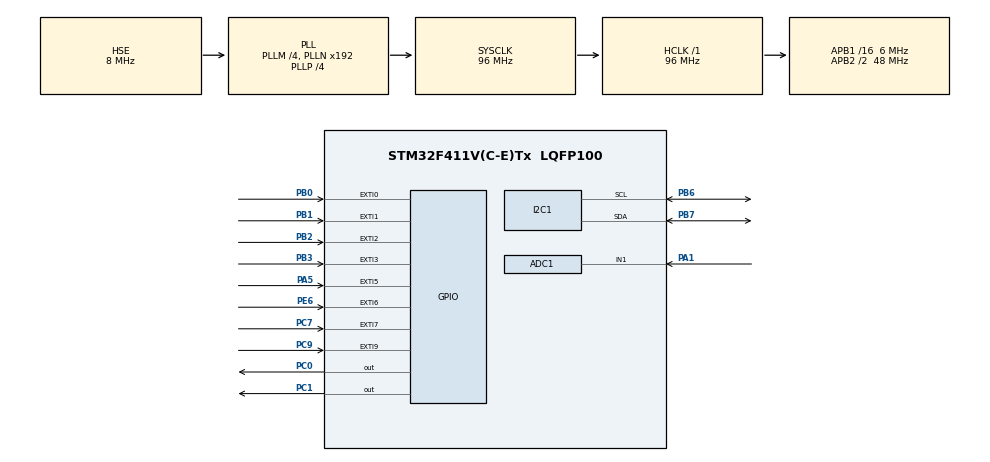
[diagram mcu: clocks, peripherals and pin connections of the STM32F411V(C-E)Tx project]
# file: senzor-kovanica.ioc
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ADC1.Channel-3\#ChannelRegularConversion=ADC_CHANNEL_1
ADC1.ContinuousConvMode=ENABLE
ADC1.NbrOfConversionFlag=1
ADC1.Rank-3\#ChannelRegularConversion=1
ADC1.SamplingTime-3\#ChannelRegularConversion=ADC_SAMPLETIME_3CYCLES
ADC1.master=1
Mcu.Family=STM32F4
Mcu.Name=STM32F411V(C-E)Tx
Mcu.Package=LQFP100
NVIC.EXTI0_IRQn=true\:0\:0\:false\:false\:true\:true\:true\:true
NVIC.EXTI1_IRQn=true\:0\:0\:false\:false\:true\:true\:true\:true
NVIC.EXTI2_IRQn=true\:0\:0\:false\:false\:true\:true\:true\:true
NVIC.EXTI3_IRQn=true\:0\:0\:false\:false\:true\:true\:true\:true
NVIC.EXTI9_5_IRQn=true\:0\:0\:false\:false\:true\:true\:true\:true
NVIC.PriorityGroup=NVIC_PRIORITYGROUP_4
NVIC.TIM1_BRK_TIM9_IRQn=true\:0\:0\:false\:false\:true\:true\:true\:true
NVIC.TIM1_UP_TIM10_IRQn=true\:0\:0\:false\:false\:true\:true\:true\:true
NVIC.TIM2_IRQn=true\:0\:0\:false\:false\:true\:true\:true\:true
NVIC.TIM5_IRQn=true\:0\:0\:false\:false\:true\:true\:true\:true
PA1.Signal=ADCx_IN1
PA13.Mode=Serial_Wire
PA13.Signal=SYS_JTMS-SWDIO
PA14.Mode=Serial_Wire
PA14.Signal=SYS_JTCK-SWCLK
PA5.Signal=GPXTI5
PB0.GPIO_PuPd=GPIO_PULLUP
PB0.Signal=GPXTI0
PB1.GPIO_PuPd=GPIO_PULLUP
PB1.Signal=GPXTI1
PB2.GPIO_PuPd=GPIO_PULLUP
PB2.Signal=GPXTI2
PB3.GPIO_ModeDefaultEXTI=GPIO_MODE_IT_FALLING
PB3.GPIO_PuPd=GPIO_PULLUP
PB3.Signal=GPXTI3
PB6.Mode=I2C
PB6.Signal=I2C1_SCL
PB7.Mode=I2C
PB7.Signal=I2C1_SDA
PC0.Signal=GPIO_Output
PC1.Signal=GPIO_Output
PC7.GPIO_ModeDefaultEXTI=GPIO_MODE_IT_RISING
PC7.GPIO_PuPd=GPIO_PULLUP
PC7.Signal=GPXTI7
PC9.GPIO_ModeDefaultEXTI=GPIO_MODE_IT_RISING
PC9.GPIO_PuPd=GPIO_PULLUP
PC9.Signal=GPXTI9
PE6.Signal=GPXTI6
PH0\ -\ OSC_IN.Mode=HSE-External-Oscillator
PH0\ -\ OSC_IN.Signal=RCC_OSC_IN
PH1\ -\ OSC_OUT.Mode=HSE-External-Oscillator
PH1\ -\ OSC_OUT.Signal=RCC_OSC_OUT
ProjectManager.HeapSize=0x200
ProjectManager.StackSize=0x400
ProjectManager.TargetToolchain=STM32CubeIDE
RCC.48MHZClocksFreq_Value=96000000
RCC.AHBFreq_Value=96000000
RCC.APB1CLKDivider=RCC_HCLK_DIV16
RCC.APB1Freq_Value=6000000
RCC.APB1TimFreq_Value=12000000
RCC.APB2CLKDivider=RCC_HCLK_DIV2
RCC.APB2Freq_Value=48000000
RCC.APB2TimFreq_Value=96000000
RCC.CortexFreq_Value=96000000
RCC.HCLKFreq_Value=96000000
RCC.HSE_VALUE=8000000
RCC.HSI_VALUE=16000000
RCC.LSE_VALUE=32768
RCC.PLLM=4
RCC.PLLP=RCC_PLLP_DIV4
RCC.PLLSourceVirtual=RCC_PLLSOURCE_HSE
RCC.SYSCLKFreq_VALUE=96000000
RCC.SYSCLKSource=RCC_SYSCLKSOURCE_PLLCLK
RCC.VCOOutputFreq_Value=384000000
SH.ADCx_IN1.0=ADC1_IN1,IN1
TIM10.AutoReloadPreload=TIM_AUTORELOAD_PRELOAD_ENABLE
TIM2.AutoReloadPreload=TIM_AUTORELOAD_PRELOAD_ENABLE
TIM2.Period=240000
TIM5.AutoReloadPreload=TIM_AUTORELOAD_PRELOAD_ENABLE
TIM5.Period=240000
TIM9.AutoReloadPreload=TIM_AUTORELOAD_PRELOAD_ENABLE
TIM9.Period=192
TIM9.Prescaler=0
VP_TIM10_VS_ClockSourceINT.Mode=Enable_Timer
VP_TIM11_VS_ClockSourceINT.Mode=Enable_Timer
VP_TIM2_VS_ClockSourceINT.Mode=Internal
VP_TIM5_VS_ClockSourceINT.Mode=Internal
VP_TIM9_VS_ClockSourceINT.Mode=Internal
board=custom

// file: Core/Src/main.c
/* USER CODE BEGIN Header */
/**
  ******************************************************************************
  * @file           : main.c
  * @brief          : Main program body
  ******************************************************************************
  * @attention
  *
  * Copyright (c) 2023 STMicroelectronics.
  * All rights reserved.
  *
  * This software is licensed under terms that can be found in the LICENSE file
  * in the root directory of this software component.
  * If no LICENSE file comes with this software, it is provided AS-IS.
  *
  ******************************************************************************
  */
/* USER CODE END Header */
#include "main.h"

/* USER CODE BEGIN Includes */
#include <i2c-lcd.h>
#include "flashFunction.h"
/* USER CODE END Includes */

/* USER CODE BEGIN PD */
#define EFreqWeight 0.1f
#define MFreqWeight 1.f
#define MAmplWeight 1.5f
#define criticalCertainty 0.985f
#define MA_rdy ADC1->SR || 0x10
#define moving_average_size 8
#define SLAVE_ADDRESS_LCD 0x4E
#define servo1_neutral() servo1_angle(90)
#define servo1_return()	servo1_angle(180)
#define servo1_passtrough()	servo1_angle(0)
#define FLASH_MEMORY_BEGIN 0x08060000
/* USER CODE END PD */

ADC_HandleTypeDef hadc1;

I2C_HandleTypeDef hi2c1;

TIM_HandleTypeDef htim2;
TIM_HandleTypeDef htim5;
TIM_HandleTypeDef htim9;
TIM_HandleTypeDef htim10;
TIM_HandleTypeDef htim11;

/* USER CODE BEGIN PV */
volatile uint32_t MA_min_val = 65535;
volatile uint32_t MA_new_val;
volatile uint32_t MF_max_val = 0;
volatile uint32_t MF_new_val;
volatile uint8_t MF_rdy;

volatile uint32_t EF_min_val;
volatile uint32_t EF_new_val;
volatile uint8_t EF_rdy;

volatile uint32_t MA_mov_avg[moving_average_size];
volatile uint32_t MF_mov_avg[moving_average_size];
volatile uint32_t EF_mov_avg[moving_average_size];

uint8_t MA_mov_avg_index;
uint8_t MF_mov_avg_index;
uint8_t EF_mov_avg_index;

float EF_avg;
float MF_avg;
float MA_avg;
float EF_avg_cur;
float MF_avg_cur;
float MA_avg_cur;

volatile uint8_t MF_sensor_output_stable = 0;
volatile uint8_t EF_sensor_output_stable = 0;
volatile uint8_t MA_sensor_output_stable = 0;

uint8_t i, j, k;
float sum_DV, sum_DF, sum_DA, sum_total, sum = 0;

struct coinSave{
	uint8_t coinID; //coin ID
	char currencyName[3]; //currency name
	float value; //coin value
	float df; //frequency change of M sensor
	float da; //amplitude change of M sensor
	float dv; //frequency change of E sensor
};
struct coinSave savedCoins[8] = {0};
volatile float coin_values[8] = {0.01, 0.02, 0.05, 0.1, 0.2, 0.5, 1, 2};

volatile float EFWeight;
volatile float MFWeight;
volatile float MAWeight;

volatile uint8_t coin_inserted = 0;
volatile uint8_t coin_still_present = 0;
volatile uint8_t counting_mode;
volatile uint8_t cal_mode;
volatile uint8_t debug_mode = 0;

volatile uint16_t servo1_timer = 18240;
volatile uint8_t servo1_state = 0;
volatile uint16_t servo2_timer = 18240;
volatile uint8_t servo2_state = 0;
volatile uint32_t cunt = 0;

/* USER CODE END PV */

void SystemClock_Config(void);
static void MX_GPIO_Init(void);
static void MX_TIM9_Init(void);
static void MX_ADC1_Init(void);
static void MX_TIM10_Init(void);
static void MX_TIM11_Init(void);
static void MX_I2C1_Init(void);
static void MX_TIM2_Init(void);
static void MX_TIM5_Init(void);
/* USER CODE BEGIN PFP */
static void reset_data();
static float probability_match(struct coinSave *coin1, struct coinSave *coin2);
static float moving_avg(uint8_t *index, uint32_t *array_pointer, uint32_t new_value);
void servo1_angle(int ang);
void servo2_angle(int ang);
static float deviation(float a, float b);

/* USER CODE END PFP */

int main(void)
{
  /* USER CODE BEGIN 1 */
	volatile struct coinSave current_coin;
	volatile float DF, DA, DV;
	uint8_t flashCheck;

  /* USER CODE END 1 */

  /* MCU Configuration--------------------------------------------------------*/

  /* Reset of all peripherals, Initializes the Flash interface and the Systick. */
  HAL_Init();

  /* Configure the system clock */
  SystemClock_Config();

  /* Initialize all configured peripherals */
  MX_GPIO_Init();
  MX_TIM9_Init();
  MX_ADC1_Init();
  MX_TIM10_Init();
  MX_TIM11_Init();
  MX_I2C1_Init();
  MX_TIM2_Init();
  MX_TIM5_Init();
  /* USER CODE BEGIN 2 */

  lcd_init();

  reset_data();
  MF_mov_avg_index = 0;
  MA_mov_avg_index = 0;
  EF_mov_avg_index = 0;
  EFWeight = EFreqWeight / (EFreqWeight + MFreqWeight + MAmplWeight);
  MFWeight = MFreqWeight / (EFreqWeight + MFreqWeight + MAmplWeight);
  MAWeight = MAmplWeight / (EFreqWeight + MFreqWeight + MAmplWeight);

  flashCheck = read_data(FLASH_MEMORY_BEGIN);
  sum = 0;
  display_total_init();
  display_total_update(0);
  if(flashCheck == 8){
	//Coins are already stored, store data from flash into RAM
	for(i=0;i<8;i++){
		Read_coin(&savedCoins[i], i);
	}
	cal_mode = 0;
	counting_mode = 1;
	display_bottom("Counting");
  }else{
  	coin_init();
  	//init RAM stored coins
  	for(i = 0;i<8;i++){
  		savedCoins[i].currencyName[0] = 'E';
  		savedCoins[i].currencyName[1] = 'U';
  		savedCoins[i].currencyName[2] = 'R';
  		savedCoins[i].coinID = i;
  		savedCoins[i].value = coin_values[i];
  	}
  	i = 0;
		cal_mode = 1;
		counting_mode = 0;
  	display_bottom("Cal");
  	display_total_update(0.01);
  }
  current_coin.coinID = 0;
  sum = 0;

  //HAL_TIM_Base_Start_IT(&htim9);
  HAL_TIM_Base_Start_IT(&htim10);
  HAL_TIM_Base_Start_IT(&htim11);
  HAL_TIM_Base_Start_IT(&htim2);
  HAL_TIM_Base_Start_IT(&htim5);
  ADC1->CR2 |= 0x01;
  /*

*/
  servo1_return();
  HAL_Delay(1000);
  servo1_neutral();
  servo2_angle(90);
  /*
  while(!MF_sensor_output_stable && !MA_sensor_output_stable && !EF_sensor_output_stable ){
	  if(MF_rdy == 1){
		  MF_rdy = 0;
		  if(deviation(MF_avg, MF_new_val) < 0.01) {
			  MF_sensor_output_stable = 1;
		  }
		  MF_avg = moving_avg(&MF_mov_avg_index, MF_mov_avg, MF_new_val);
	  }
	  if(EF_rdy == 1){
		  EF_rdy = 0;
		  if(deviation(EF_avg, EF_new_val) < 0.01) {
			  EF_sensor_output_stable = 1;
		  }
		  EF_avg = moving_avg(&EF_mov_avg_index, EF_mov_avg, EF_new_val);
	  }
	  if(MA_rdy){
		  MA_new_val = ADC1->DR;
		  if(deviation(MA_avg, MA_new_val) < 0.01) {
			  MA_sensor_output_stable = 1;
		  }
		  MA_avg = moving_avg(&MA_mov_avg_index, MA_mov_avg, MA_new_val);
	  }
  }
  */
  reset_data();

  /* USER CODE END 2 */

  /* Infinite loop */
  /* USER CODE BEGIN WHILE */
  while (1)
  {
	  //self calibrate until coin is inserted
	  while(!coin_inserted){
		  if(MF_rdy == 1)
	  	  {
	  		  MF_rdy = 0;
	  		  MF_avg = moving_avg(&MF_mov_avg_index, MF_mov_avg, MF_new_val);
	  	  }
	  	  if(EF_rdy == 1)
	  	  {
	  		  EF_rdy = 0;
	  		  EF_avg = moving_avg(&EF_mov_avg_index, EF_mov_avg, EF_new_val);
	  	  }
	  	  if(MA_rdy){
	  		 // MA_new_val = ADC1->DR;
	  		  MA_new_val = HAL_ADC_GetValue(&hadc1);
	  		  MA_avg = moving_avg(&MA_mov_avg_index, MA_mov_avg, MA_new_val);
	  	  }
	  }
	  //coin is inserted, capture peaks/valleys of measurments
	  while(coin_still_present){
		  coin_inserted = 0;
		  if(MF_rdy == 1)
	  	  {
	  		  MF_rdy = 0;
	  		  if(MF_new_val > 1200){
	  			MF_avg_cur = moving_avg(&MF_mov_avg_index, MF_mov_avg, MF_new_val);
	  			if(MF_avg_cur < MF_max_val){
	  				MF_max_val = MF_avg_cur;
	  			}
	  		  }

	  	  }
	  	  if(EF_rdy == 1)
	  	  {
	  		  EF_rdy = 0;
	  		  EF_avg_cur = moving_avg(&EF_mov_avg_index, EF_mov_avg, EF_new_val);
	  		  if(EF_avg_cur > EF_min_val)
	  		  {
	  			  EF_min_val = EF_avg_cur;
	  		  }
	  	  }
	  	  //ADC conversion finished
	  	  if(MA_rdy){
	  		 MA_new_val =HAL_ADC_GetValue(&hadc1);
	  		  //MA_new_val = ADC1->DR;
	  		  MA_avg_cur = moving_avg(&MA_mov_avg_index, MA_mov_avg, MA_new_val);
	  		  if(MA_avg_cur < MA_min_val){
	  			  MA_min_val = MA_avg_cur;
	  		  }
	  	  }
	  }
	  //coin left the tunnel
	  HAL_TIM_Base_Stop_IT(&htim10);
	  HAL_TIM_Base_Stop_IT(&htim11);
	  DA = MA_avg/MA_min_val*10;
  	  DF = MF_avg/MF_max_val*10;
  	  DV = EF_min_val/EF_avg*10;

  	  if(debug_mode){
  		  //ispisati na display vrijednosti DA, DF i DV
  		  display_debug(DA, DF, DV);
  		  HAL_Delay(250);
  		  servo1_return();
  		  HAL_Delay(1000);
  		  servo1_neutral();
  	  }else if(counting_mode){
	  	  current_coin.da = DA;
	  	  current_coin.df = DF;
	  	  current_coin.dv = DV;
	  	  j = 0;
	  	  for(i = 0;i<8;i++){
	  		if(probability_match(&savedCoins[i], &current_coin) >= criticalCertainty){
	  			j++;
	  			current_coin.coinID = savedCoins[i].coinID;
	  		}
	  		if(j > 1)break;
	  	  }
	  	  if(j == 1){
	  		 //coin is recognized
	  		sum += savedCoins[current_coin.coinID].value;
	  		display_total_update(sum);
	  		servo2_angle(0);
	  		HAL_Delay(1000);
	  		servo1_passtrough();
	  		HAL_Delay(1000);
	  		servo1_neutral();
	  		servo2_angle(90);
	  	  }else{
	  		//coin is not recognized
	  		servo1_return();
	  		HAL_Delay(1000);
	  		servo1_neutral();
	  	  }
	  	  reset_data();

	  }else if(cal_mode){
		  if(j < 4){
			  if(j == 0){
				  sum_DV = 0;
				  sum_DF = 0;
				  sum_DA = 0;
			  }
			  sum_DV += DV;
			  sum_DF += DF;
			  sum_DA += DA;
			  j++;
		  }else{
			  sum_DV += DV;
			  sum_DF += DF;
			  sum_DA += DA;
			  sum_DV /= 5;
			  sum_DF /= 5;
			  sum_DA /= 5;
			  savedCoins[i].da = sum_DA;
			  savedCoins[i].df = sum_DF;
			  savedCoins[i].dv = sum_DV;
			  savedCoins[i].value = coin_values[i];
			  Write_coin((uint8_t *)(&savedCoins[i]), savedCoins[i].coinID);
			  j = 0;
			  i++;
		  }
		  lcd_put_cur(1, 10);
		  lcd_send_data(j+48);
		  display_total_update(savedCoins[i].value);
		  HAL_Delay(250);
		  servo1_return();
		  HAL_Delay(1000);
		  servo1_neutral();
		  if(i == 8){
			  counting_mode = 1;
			  cal_mode = 0;
			  lcd_clear();
			  display_total_init();
			  display_total_update(sum);
			  display_bottom("Counting");
			  save_data(FLASH_MEMORY_BEGIN, 0x08);
		  }
	  }
  	reset_data();
  	HAL_TIM_Base_Start_IT(&htim10);
  	HAL_TIM_Base_Start_IT(&htim11);

    /* USER CODE END WHILE */

  }
}

void SystemClock_Config(void)
{
  RCC_OscInitTypeDef RCC_OscInitStruct = {0};
  RCC_ClkInitTypeDef RCC_ClkInitStruct = {0};

  /** Configure the main internal regulator output voltage
  */
  __HAL_RCC_PWR_CLK_ENABLE();
  __HAL_PWR_VOLTAGESCALING_CONFIG(PWR_REGULATOR_VOLTAGE_SCALE1);

  /** Initializes the RCC Oscillators according to the specified parameters
  * in the RCC_OscInitTypeDef structure.
  */
  RCC_OscInitStruct.OscillatorType = RCC_OSCILLATORTYPE_HSE;
  RCC_OscInitStruct.HSEState = RCC_HSE_ON;
  RCC_OscInitStruct.PLL.PLLState = RCC_PLL_ON;
  RCC_OscInitStruct.PLL.PLLSource = RCC_PLLSOURCE_HSE;
  RCC_OscInitStruct.PLL.PLLM = 4;
  RCC_OscInitStruct.PLL.PLLN = 192;
  RCC_OscInitStruct.PLL.PLLP = RCC_PLLP_DIV4;
  RCC_OscInitStruct.PLL.PLLQ = 4;
  if (HAL_RCC_OscConfig(&RCC_OscInitStruct) != HAL_OK)
  {
    Error_Handler();
  }

  /** Initializes the CPU, AHB and APB buses clocks
  */
  RCC_ClkInitStruct.ClockType = RCC_CLOCKTYPE_HCLK|RCC_CLOCKTYPE_SYSCLK
                              |RCC_CLOCKTYPE_PCLK1|RCC_CLOCKTYPE_PCLK2;
  RCC_ClkInitStruct.SYSCLKSource = RCC_SYSCLKSOURCE_PLLCLK;
  RCC_ClkInitStruct.AHBCLKDivider = RCC_SYSCLK_DIV1;
  RCC_ClkInitStruct.APB1CLKDivider = RCC_HCLK_DIV16;
  RCC_ClkInitStruct.APB2CLKDivider = RCC_HCLK_DIV2;

  if (HAL_RCC_ClockConfig(&RCC_ClkInitStruct, FLASH_LATENCY_3) != HAL_OK)
  {
    Error_Handler();
  }
}

static void MX_ADC1_Init(void)
{

  ADC_ChannelConfTypeDef sConfig = {0};

  /** Configure the global features of the ADC (Clock, Resolution, Data Alignment and number of conversion)
  */
  hadc1.Instance = ADC1;
  hadc1.Init.ClockPrescaler = ADC_CLOCK_SYNC_PCLK_DIV2;
  hadc1.Init.Resolution = ADC_RESOLUTION_12B;
  hadc1.Init.ScanConvMode = DISABLE;
  hadc1.Init.ContinuousConvMode = ENABLE;
  hadc1.Init.DiscontinuousConvMode = DISABLE;
  hadc1.Init.ExternalTrigConvEdge = ADC_EXTERNALTRIGCONVEDGE_NONE;
  hadc1.Init.ExternalTrigConv = ADC_SOFTWARE_START;
  hadc1.Init.DataAlign = ADC_DATAALIGN_RIGHT;
  hadc1.Init.NbrOfConversion = 1;
  hadc1.Init.DMAContinuousRequests = DISABLE;
  hadc1.Init.EOCSelection = ADC_EOC_SINGLE_CONV;
  if (HAL_ADC_Init(&hadc1) != HAL_OK)
  {
    Error_Handler();
  }

  /** Configure for the selected ADC regular channel its corresponding rank in the sequencer and its sample time.
  */
  sConfig.Channel = ADC_CHANNEL_1;
  sConfig.Rank = 1;
  sConfig.SamplingTime = ADC_SAMPLETIME_3CYCLES;
  if (HAL_ADC_ConfigChannel(&hadc1, &sConfig) != HAL_OK)
  {
    Error_Handler();
  }

}

static void MX_I2C1_Init(void)
{

  hi2c1.Instance = I2C1;
  hi2c1.Init.ClockSpeed = 100000;
  hi2c1.Init.DutyCycle = I2C_DUTYCYCLE_2;
  hi2c1.Init.OwnAddress1 = 0;
  hi2c1.Init.AddressingMode = I2C_ADDRESSINGMODE_7BIT;
  hi2c1.Init.DualAddressMode = I2C_DUALADDRESS_DISABLE;
  hi2c1.Init.OwnAddress2 = 0;
  hi2c1.Init.GeneralCallMode = I2C_GENERALCALL_DISABLE;
  hi2c1.Init.NoStretchMode = I2C_NOSTRETCH_DISABLE;
  if (HAL_I2C_Init(&hi2c1) != HAL_OK)
  {
    Error_Handler();
  }

}

static void MX_TIM2_Init(void)
{

  TIM_ClockConfigTypeDef sClockSourceConfig = {0};
  TIM_MasterConfigTypeDef sMasterConfig = {0};

  htim2.Instance = TIM2;
  htim2.Init.Prescaler = 0;
  htim2.Init.CounterMode = TIM_COUNTERMODE_UP;
  htim2.Init.Period = 240000;
  htim2.Init.ClockDivision = TIM_CLOCKDIVISION_DIV1;
  htim2.Init.AutoReloadPreload = TIM_AUTORELOAD_PRELOAD_ENABLE;
  if (HAL_TIM_Base_Init(&htim2) != HAL_OK)
  {
    Error_Handler();
  }
  sClockSourceConfig.ClockSource = TIM_CLOCKSOURCE_INTERNAL;
  if (HAL_TIM_ConfigClockSource(&htim2, &sClockSourceConfig) != HAL_OK)
  {
    Error_Handler();
  }
  sMasterConfig.MasterOutputTrigger = TIM_TRGO_RESET;
  sMasterConfig.MasterSlaveMode = TIM_MASTERSLAVEMODE_DISABLE;
  if (HAL_TIMEx_MasterConfigSynchronization(&htim2, &sMasterConfig) != HAL_OK)
  {
    Error_Handler();
  }

}

static void MX_TIM5_Init(void)
{

  TIM_ClockConfigTypeDef sClockSourceConfig = {0};
  TIM_MasterConfigTypeDef sMasterConfig = {0};

  htim5.Instance = TIM5;
  htim5.Init.Prescaler = 0;
  htim5.Init.CounterMode = TIM_COUNTERMODE_UP;
  htim5.Init.Period = 240000;
  htim5.Init.ClockDivision = TIM_CLOCKDIVISION_DIV1;
  htim5.Init.AutoReloadPreload = TIM_AUTORELOAD_PRELOAD_ENABLE;
  if (HAL_TIM_Base_Init(&htim5) != HAL_OK)
  {
    Error_Handler();
  }
  sClockSourceConfig.ClockSource = TIM_CLOCKSOURCE_INTERNAL;
  if (HAL_TIM_ConfigClockSource(&htim5, &sClockSourceConfig) != HAL_OK)
  {
    Error_Handler();
  }
  sMasterConfig.MasterOutputTrigger = TIM_TRGO_RESET;
  sMasterConfig.MasterSlaveMode = TIM_MASTERSLAVEMODE_DISABLE;
  if (HAL_TIMEx_MasterConfigSynchronization(&htim5, &sMasterConfig) != HAL_OK)
  {
    Error_Handler();
  }

}

static void MX_TIM9_Init(void)
{

  TIM_ClockConfigTypeDef sClockSourceConfig = {0};

  htim9.Instance = TIM9;
  htim9.Init.Prescaler = 0;
  htim9.Init.CounterMode = TIM_COUNTERMODE_UP;
  htim9.Init.Period = 192;
  htim9.Init.ClockDivision = TIM_CLOCKDIVISION_DIV1;
  htim9.Init.AutoReloadPreload = TIM_AUTORELOAD_PRELOAD_ENABLE;
  if (HAL_TIM_Base_Init(&htim9) != HAL_OK)
  {
    Error_Handler();
  }
  sClockSourceConfig.ClockSource = TIM_CLOCKSOURCE_INTERNAL;
  if (HAL_TIM_ConfigClockSource(&htim9, &sClockSourceConfig) != HAL_OK)
  {
    Error_Handler();
  }

}

static void MX_TIM10_Init(void)
{

  htim10.Instance = TIM10;
  htim10.Init.Prescaler = 0;
  htim10.Init.CounterMode = TIM_COUNTERMODE_UP;
  htim10.Init.Period = 65535;
  htim10.Init.ClockDivision = TIM_CLOCKDIVISION_DIV1;
  htim10.Init.AutoReloadPreload = TIM_AUTORELOAD_PRELOAD_ENABLE;
  if (HAL_TIM_Base_Init(&htim10) != HAL_OK)
  {
    Error_Handler();
  }

}

static void MX_TIM11_Init(void)
{

  htim11.Instance = TIM11;
  htim11.Init.Prescaler = 0;
  htim11.Init.CounterMode = TIM_COUNTERMODE_UP;
  htim11.Init.Period = 65535;
  htim11.Init.ClockDivision = TIM_CLOCKDIVISION_DIV1;
  htim11.Init.AutoReloadPreload = TIM_AUTORELOAD_PRELOAD_DISABLE;
  if (HAL_TIM_Base_Init(&htim11) != HAL_OK)
  {
    Error_Handler();
  }

}

static void MX_GPIO_Init(void)
{
  GPIO_InitTypeDef GPIO_InitStruct = {0};

  /* GPIO Ports Clock Enable */
  __HAL_RCC_GPIOE_CLK_ENABLE();
  __HAL_RCC_GPIOH_CLK_ENABLE();
  __HAL_RCC_GPIOC_CLK_ENABLE();
  __HAL_RCC_GPIOA_CLK_ENABLE();
  __HAL_RCC_GPIOB_CLK_ENABLE();

  /*Configure GPIO pin Output Level */
  HAL_GPIO_WritePin(GPIOC, GPIO_PIN_0|GPIO_PIN_1, GPIO_PIN_RESET);

  /*Configure GPIO pin : PE6 */
  GPIO_InitStruct.Pin = GPIO_PIN_6;
  GPIO_InitStruct.Mode = GPIO_MODE_IT_RISING;
  GPIO_InitStruct.Pull = GPIO_NOPULL;
  HAL_GPIO_Init(GPIOE, &GPIO_InitStruct);

  /*Configure GPIO pins : PC0 PC1 */
  GPIO_InitStruct.Pin = GPIO_PIN_0|GPIO_PIN_1;
  GPIO_InitStruct.Mode = GPIO_MODE_OUTPUT_PP;
  GPIO_InitStruct.Pull = GPIO_NOPULL;
  GPIO_InitStruct.Speed = GPIO_SPEED_FREQ_LOW;
  HAL_GPIO_Init(GPIOC, &GPIO_InitStruct);

  /*Configure GPIO pin : PA5 */
  GPIO_InitStruct.Pin = GPIO_PIN_5;
  GPIO_InitStruct.Mode = GPIO_MODE_IT_RISING;
  GPIO_InitStruct.Pull = GPIO_NOPULL;
  HAL_GPIO_Init(GPIOA, &GPIO_InitStruct);

  /*Configure GPIO pins : PB0 PB1 PB2 */
  GPIO_InitStruct.Pin = GPIO_PIN_0|GPIO_PIN_1|GPIO_PIN_2;
  GPIO_InitStruct.Mode = GPIO_MODE_IT_RISING;
  GPIO_InitStruct.Pull = GPIO_PULLUP;
  HAL_GPIO_Init(GPIOB, &GPIO_InitStruct);

  /*Configure GPIO pins : PC7 PC9 */
  GPIO_InitStruct.Pin = GPIO_PIN_7|GPIO_PIN_9;
  GPIO_InitStruct.Mode = GPIO_MODE_IT_RISING;
  GPIO_InitStruct.Pull = GPIO_PULLUP;
  HAL_GPIO_Init(GPIOC, &GPIO_InitStruct);

  /*Configure GPIO pin : PB3 */
  GPIO_InitStruct.Pin = GPIO_PIN_3;
  GPIO_InitStruct.Mode = GPIO_MODE_IT_FALLING;
  GPIO_InitStruct.Pull = GPIO_PULLUP;
  HAL_GPIO_Init(GPIOB, &GPIO_InitStruct);

  /* EXTI interrupt init*/
  HAL_NVIC_SetPriority(EXTI0_IRQn, 0, 0);
  HAL_NVIC_EnableIRQ(EXTI0_IRQn);

  HAL_NVIC_SetPriority(EXTI1_IRQn, 0, 0);
  HAL_NVIC_EnableIRQ(EXTI1_IRQn);

  HAL_NVIC_SetPriority(EXTI2_IRQn, 0, 0);
  HAL_NVIC_EnableIRQ(EXTI2_IRQn);

  HAL_NVIC_SetPriority(EXTI3_IRQn, 0, 0);
  HAL_NVIC_EnableIRQ(EXTI3_IRQn);

  HAL_NVIC_SetPriority(EXTI9_5_IRQn, 0, 0);
  HAL_NVIC_EnableIRQ(EXTI9_5_IRQn);

}

/* USER CODE BEGIN 4 */
void HAL_TIM_PeriodElapsedCallback(TIM_HandleTypeDef *htim)
{
  // Check which version of the timer triggered this callback
	if (htim == &htim9){
		//neuspjelo :(
	  }
	  if(htim == &htim10){
		  //ovo se ne bi trebalo desiti :/
	  }
	  if(htim == &htim11){
		  //ovo se ne bi trebalo desiti :/
	  }

	  if (htim == &htim2) {

	    if(servo1_state == 1){
	      HAL_GPIO_WritePin(GPIOC, GPIO_PIN_0, 0);
	      servo1_state = 0;
	      TIM2->ARR = servo1_timer;
	    }
	    else{
	      HAL_GPIO_WritePin(GPIOC, GPIO_PIN_0, 1);
	      servo1_state = 1;
	      TIM2->ARR = 240000;
	    }

	  }
	  if(htim == &htim5){
	    if(servo2_state == 1){
	      HAL_GPIO_WritePin(GPIOC, GPIO_PIN_1, 0);
	      servo2_state = 0;
	      TIM5->ARR = servo2_timer;
	    }
	    else{
	      HAL_GPIO_WritePin(GPIOC, GPIO_PIN_1, 1);
	      servo2_state = 1;
	      TIM5->ARR = 240000;
	    }
	  }
}

void HAL_GPIO_EXTI_Callback(uint16_t GPIO_Pin)
{

  //MF update and start ADC conversion  pin PA5 i PA1
  if(GPIO_Pin == GPIO_PIN_5) {
	  MF_rdy = 1;
	  MF_new_val = TIM10->CNT;
  	  TIM10->CNT &= 0x00; //reset timer counter
  	  HAL_ADC_Start(&hadc1);
  	  HAL_ADC_PollForConversion(&hadc1, HAL_MAX_DELAY);
  	  //ADC1->CR2 |= 1 << 30; //start ADC conversion
  }
  //EF update PIN PB3
  if(GPIO_Pin == GPIO_PIN_3) {
	  EF_new_val = TIM11->CNT;
	  TIM11->CNT &= 0x00;
	  EF_rdy = 1;
  }
  //USER gumb na disco boardu
  if(GPIO_Pin == GPIO_PIN_0){
	  if(!debug_mode){
		  cal_mode = 1;
		  counting_mode = 0;
	  }
  }
  //LED detection on coin insertin on PC7
  if(GPIO_Pin == GPIO_PIN_7){
  	  coin_inserted = 1;
  	  coin_still_present = 1;
  }
  //LED detection on coin leaving sensors on PA9
  if(GPIO_Pin == GPIO_PIN_9){
	  coin_still_present = 0;
  }

}
//nazalost ne radi dobro :(
/*
static void set_local_osc(float freq){
	TIM9->ARR = (uint16_t)(48e3/freq+1);
}
*/
static void reset_data(){
	MA_min_val = 4095;
	MF_max_val = 65535;
	EF_min_val = 0;
	MF_rdy = 0;
	EF_rdy = 0;
	ADC1->SR &= ~0x10;
}

static float probability_match(struct coinSave *coin1, struct coinSave *coin2){
	float da_probability, df_probability, dv_probability, result;
	da_probability = 1 - deviation(coin1->da, coin2->da);
	df_probability = 1 - deviation(coin1->df, coin2->df);
	dv_probability = 1 - deviation(coin1->dv, coin2->dv);
	if(da_probability <= 0 || df_probability <= 0  || dv_probability <= 0) return 0;
	result = da_probability * MAWeight + df_probability * MFWeight + dv_probability * EFWeight;
	return result;
}

static float moving_avg(uint8_t *index, uint32_t *array_pointer, uint32_t new_value){
	float sum = 0;
	uint8_t sum_index;
	array_pointer[*(index)] = new_value;
	*(index) = *(index) + 1;
	*(index) %= moving_average_size;
	for(sum_index=0;sum_index<moving_average_size;sum_index++){
		sum += array_pointer[sum_index];
	}
	sum /= (float)moving_average_size;
	return sum;
}

static float deviation(float a, float b){
	float result = (a - b)/a;
	if(result < 0) result *= -1;
	return result;
}

void servo1_angle(int ang){
	servo1_timer = (ang*120)+7440;
}

void servo2_angle(int ang){
	servo2_timer = (ang*120)+7440;
}
/*
static float abs(float a){
	if(a < 0) return -1*a;
	return a;
}
*/
/* USER CODE END 4 */

void Error_Handler(void)
{
  __disable_irq();
  while (1)
  {
  }
}
